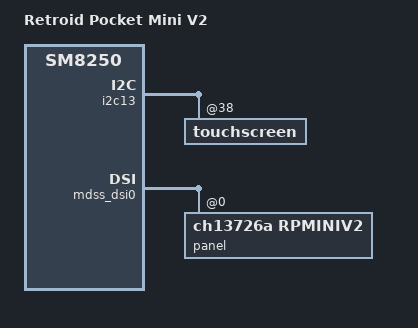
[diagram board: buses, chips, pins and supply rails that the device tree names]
// SPDX-License-Identifier: BSD-3-Clause
/*
 * Copyright (c) 2024, Retroid Pocket.
 */

/dts-v1/;

#include "sm8250-retroidpocket-common.dtsi"

/ {
	model = "Retroid Pocket Mini V2";
	compatible = "retroidpocket,rpminiv2", "qcom,sm8250";

	chosen {
		#address-cells = <2>;
		#size-cells = <2>;
		ranges;

		framebuffer: framebuffer@9c000000 {
			compatible = "simple-framebuffer";
			reg = <0x0 0x9c000000 0x0 0x2300000>;
			width = <1080>;
			height = <1240>;
			stride = <(1080 * 4)>;
			format = "a8r8g8b8";
			rot = <1>;
		};
	};
};

&i2c13 {
	touchscreen@38 {
		touchscreen-size-x = <1080>;
		touchscreen-size-y = <1240>;
	};
};

&mdss_dsi0 {
	panel@0 {
		compatible = "ch13726a,rpminiv2";
		rotation = <90>;
	};
};
